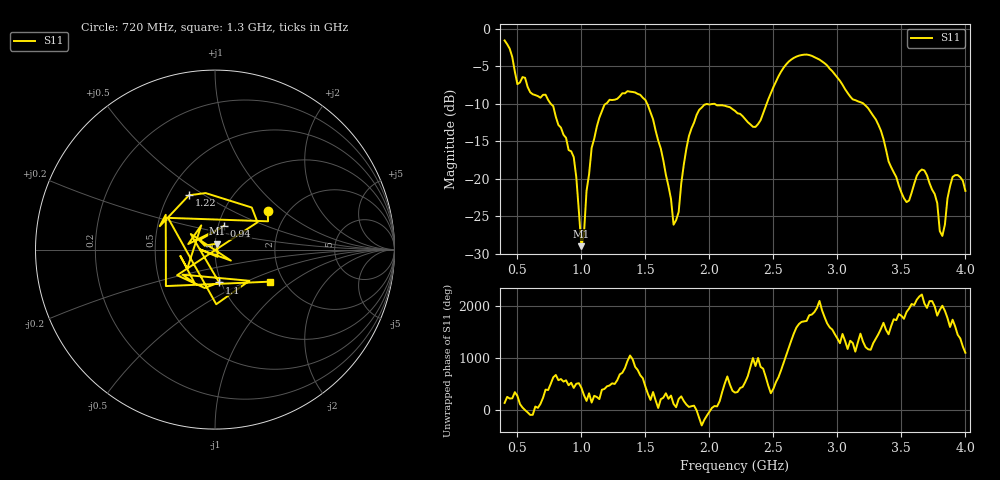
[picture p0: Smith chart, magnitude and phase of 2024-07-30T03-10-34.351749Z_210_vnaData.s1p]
!Created with skrf (http://scikit-rf.org).
# Hz S RI R 50.0
!freq ReS11 ImS11
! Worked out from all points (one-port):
!   181 points, 400 MHz to 4 GHz, reference 50 ohm
!   lowest |S11| = -29.0 dB at 1 GHz (marker M1), VSWR 1.07, Z = 51 + j3.44 ohm
!   |S11| at or under -10 dB: 759.8 MHz to 1.192 GHz (432.7 MHz wide, 44.3 % of centre); 1.514 GHz to 2.448 GHz (933.9 MHz wide, 47.2 % of centre); 3.204 GHz to end of sweep
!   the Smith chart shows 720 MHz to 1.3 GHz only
!   S11 on the Smith chart (normalised r, x): 720 MHz: 1.59, +0.78; 940 MHz: 1.07, +0.28; 1.1 GHz: 0.98, -0.37; 1.22 GHz: 0.63, +0.43; 1.3 GHz: 1.70, -0.69
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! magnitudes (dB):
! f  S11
! 400 MHz  -1.6
! 500 MHz  -7.4
! 720 MHz  -8.8
! 860 MHz  -14.1
! 940 MHz  -17.1
! 1 GHz  -29.0
! 1.08 GHz  -15.9
! 1.1 GHz  -14.7
! 1.22 GHz  -9.5
! 1.3 GHz  -9.0
! 1.5 GHz  -9.5
! 1.62 GHz  -16.0
! 1.72 GHz  -26.1
! 1.76 GHz  -24.4
! 1.82 GHz  -16.0
! 1.92 GHz  -10.8
! 2.2 GHz  -11.0
! 2.36 GHz  -13.1
! 2.66 GHz  -3.9
! 2.86 GHz  -4.1
! 3.1 GHz  -9.0
! 3.3 GHz  -12.1
! 3.56 GHz  -22.9
! 3.68 GHz  -18.9
! 3.78 GHz  -23.2
! 3.82 GHz  -27.6
! 3.9 GHz  -19.8
! 4 GHz  -21.6
